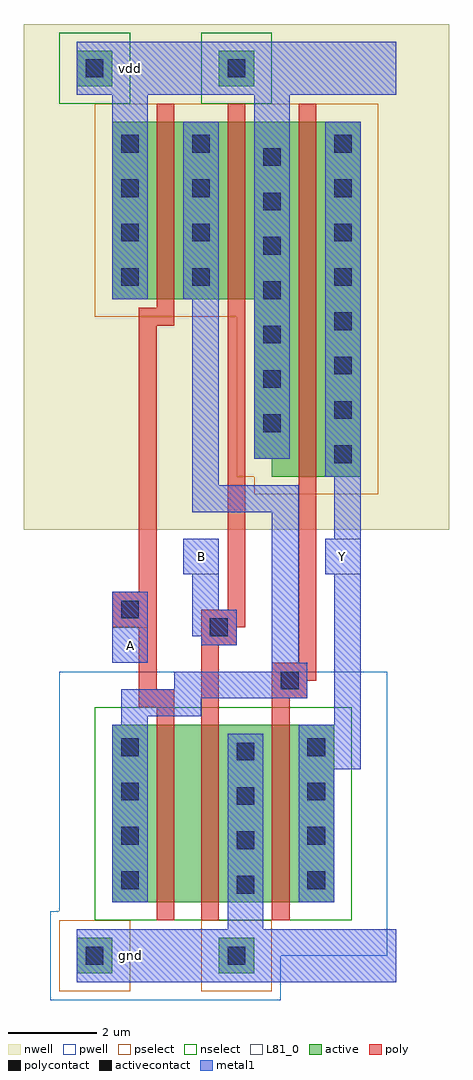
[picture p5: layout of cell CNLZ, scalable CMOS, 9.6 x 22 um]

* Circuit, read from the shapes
.subckt CNLZ A B Y gnd vdd
M1 n1 A n2 gnd nfet w=4u l=0.4u
M2 gnd B n1 gnd nfet w=4u l=0.4u
M3 Y n2 gnd gnd nfet w=4u l=0.4u
M4 n2 A vdd vdd pfet w=4u l=0.4u
M5 vdd B n2 vdd pfet w=4u l=0.4u
M6 Y n2 vdd vdd pfet w=8u l=0.4u
.ends

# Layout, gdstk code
import gdstk
lib = gdstk.Library(unit=1e-6, precision=1e-09)
def R(c, l, rs):  # rectangles x0, y0, x1, y1
    for r in rs: c.add(gdstk.rectangle(r[:2], r[2:], *l))
def A(c, l, x, y, w, h, nx, ny, dx, dy):  # array of equal rectangles
    R(c, l, [(x+i*dx, y+j*dy, x+i*dx+w, y+j*dy+h) for i in range(nx) for j in range(ny)])
pwell = (41, 0)
nwell = (42, 0)
active = (43, 0)
pselect = (44, 0)
nselect = (45, 0)
poly = (46, 0)
polycontact = (47, 0)
activecontact = (48, 0)
metal1 = (49, 0)
L81_0 = (81, 0)

cnlz = lib.new_cell('CNLZ')
R(cnlz, pwell, [(-1,-1,4.2,0), (-1,0,6.6,1), (-0.8,1,6.6,6.4)])
R(cnlz, nwell, [(-1.6,9.6,8,21)])
R(cnlz, active, [(-0.4,-0.4,0.4,0.4), (2.8,-0.4,3.6,0.4), (0.4,1.2,5.4,5.2), (4,10.8,6,11.2), (3.6,11.2,6,14.8), (0.4,14.8,6,18.8), (-0.4,19.6,0.4,20.4), (2.8,19.6,3.6,20.4)])
R(cnlz, pselect, [(-0.8,-0.8,0.8,0.8), (2.4,-0.8,4,0.8), (3.6,10.4,6.4,10.8), (3.2,10.8,6.4,14.4), (0,14.4,6.4,19.2)])
R(cnlz, nselect, [(0,0.8,5.8,5.6), (-0.8,19.2,0.8,20.8), (2.4,19.2,4,20.8)])
R(cnlz, poly, [(1.4,0.8,1.8,5.6), (2.4,0.8,2.8,7), (4,0.8,4.4,5.8), (1,5.6,1.8,6), (4,5.8,4.8,6.2), (1,6,1.4,7.4), (4,6.2,5,6.6), (4.6,6.6,5,19.2), (2.4,7,3.2,7.4), (0.4,7.4,1.4,8.2), (2.4,7.4,3.4,7.8), (3,7.8,3.4,19.2), (1,8.2,1.4,14.2), (1,14.2,1.8,14.6), (1.4,14.6,1.8,19.2)])
R(cnlz, polycontact, [(4.2,6,4.6,6.4), (2.6,7.2,3,7.6), (0.6,7.6,1,8)])
A(cnlz, activecontact, 3.2, 1.4, 0.4, 0.4, 1, 4, 0, 1)
A(cnlz, activecontact, 0.6, 1.5, 0.4, 0.4, 1, 4, 0, 1)
A(cnlz, activecontact, 4.8, 1.5, 0.4, 0.4, 1, 4, 0, 1)
A(cnlz, activecontact, 5.4, 11.1, 0.4, 0.4, 1, 8, 0, 1)
A(cnlz, activecontact, 3.8, 11.8, 0.4, 0.4, 1, 7, 0, 1)
A(cnlz, activecontact, 0.6, 15.1, 0.4, 0.4, 1, 4, 0, 1)
A(cnlz, activecontact, 2.2, 15.1, 0.4, 0.4, 1, 4, 0, 1)
R(cnlz, activecontact, [(-0.2,-0.2,0.2,0.2), (3,-0.2,3.4,0.2), (-0.2,19.8,0.2,20.2), (3,19.8,3.4,20.2)])
R(cnlz, metal1, [(-0.4,-0.6,6.8,0.6), (3,0.6,3.8,5), (0.4,1.2,1.2,5.2), (4.6,1.2,5.4,4.2), (4.6,4.2,6,5.2), (0.6,5.2,1.2,5.4), (5.4,5.2,6,8.6), (0.6,5.4,2.4,5.8), (0.6,5.8,4.8,6), (1.8,6,4.8,6.4), (4,6.4,4.8,6.6), (0.4,6.6,1.2,8.2), (4,6.6,4.6,10), (2.4,7,3.2,7.2), (2.2,7.2,3.2,7.8), (2.2,7.8,2.8,8.6), (2,8.6,2.8,9.4), (5.2,8.6,6,9.4), (5.4,9.4,6,10.8), (2.2,10,4.6,10.6), (2.2,10.6,2.8,14.8), (5.2,10.8,6,18.8), (3.6,11.2,4.4,19.4), (0.4,14.8,1.2,19.4), (2,14.8,2.8,18.8), (-0.4,19.4,6.8,20.6)])
R(cnlz, L81_0, [(0.4,6.6,1.2,7.4), (2,8.6,2.8,9.4), (5.2,8.6,6,9.4)])
cnlz.add(gdstk.Label('vdd', (0.8,20), layer=49, texttype=0))
cnlz.add(gdstk.Label('gnd', (0.8,0), layer=49, texttype=0))
cnlz.add(gdstk.Label('A', (0.8,7), layer=49, texttype=0))
cnlz.add(gdstk.Label('B', (2.4,9), layer=49, texttype=0))
cnlz.add(gdstk.Label('Y', (5.6,9), layer=49, texttype=0))

lib.write_gds('CNLZ.gds')
